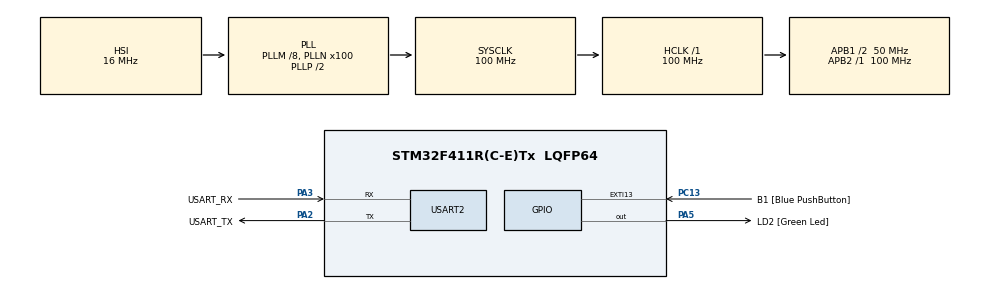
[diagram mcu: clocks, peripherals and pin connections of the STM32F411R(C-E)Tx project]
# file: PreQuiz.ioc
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Mcu.Family=STM32F4
Mcu.Name=STM32F411R(C-E)Tx
Mcu.Package=LQFP64
NVIC.PriorityGroup=NVIC_PRIORITYGROUP_0
PA13.GPIO_Label=TMS
PA13.Mode=Serial_Wire
PA13.Signal=SYS_JTMS-SWDIO
PA14.GPIO_Label=TCK
PA14.Mode=Serial_Wire
PA14.Signal=SYS_JTCK-SWCLK
PA2.GPIO_Label=USART_TX
PA2.Mode=Asynchronous
PA2.Signal=USART2_TX
PA3.GPIO_Label=USART_RX
PA3.Mode=Asynchronous
PA3.Signal=USART2_RX
PA5.GPIO_Label=LD2 [Green Led]
PA5.Signal=GPIO_Output
PB3.GPIO_Label=SWO
PB3.Signal=SYS_JTDO-SWO
PC13-ANTI_TAMP.GPIO_Label=B1 [Blue PushButton]
PC13-ANTI_TAMP.GPIO_ModeDefaultEXTI=GPIO_MODE_IT_FALLING
PC13-ANTI_TAMP.Signal=GPXTI13
PC14-OSC32_IN.Mode=LSE-External-Oscillator
PC14-OSC32_IN.Signal=RCC_OSC32_IN
PC15-OSC32_OUT.Mode=LSE-External-Oscillator
PC15-OSC32_OUT.Signal=RCC_OSC32_OUT
PH0\ -\ OSC_IN.Mode=HSE-External-Clock-Source
PH0\ -\ OSC_IN.Signal=RCC_OSC_IN
PH1\ -\ OSC_OUT.Mode=HSE-External-Clock-Source
PH1\ -\ OSC_OUT.Signal=RCC_OSC_OUT
ProjectManager.HeapSize=0x200
ProjectManager.StackSize=0x400
ProjectManager.TargetToolchain=STM32CubeIDE
RCC.48MHZClocksFreq_Value=50000000
RCC.AHBFreq_Value=100000000
RCC.APB1CLKDivider=RCC_HCLK_DIV2
RCC.APB1Freq_Value=50000000
RCC.APB1TimFreq_Value=100000000
RCC.APB2Freq_Value=100000000
RCC.APB2TimFreq_Value=100000000
RCC.CortexFreq_Value=100000000
RCC.FLatency-AdvancedSettings=FLASH_LATENCY_3
RCC.HCLKFreq_Value=100000000
RCC.HSE_VALUE=8000000
RCC.HSI_VALUE=16000000
RCC.PLLM=8
RCC.PLLN=100
RCC.SYSCLKFreq_VALUE=100000000
RCC.SYSCLKSource=RCC_SYSCLKSOURCE_PLLCLK
RCC.VCOOutputFreq_Value=200000000
USART2.VirtualMode=VM_ASYNC
board=NUCLEO-F411RE

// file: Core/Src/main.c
/* USER CODE BEGIN Header */
/**
  ******************************************************************************
  * @file           : main.c
  * @brief          : Main program body
  ******************************************************************************
  * @attention
  *
  * Copyright (c) 2023 STMicroelectronics.
  * All rights reserved.
  *
  * This software is licensed under terms that can be found in the LICENSE file
  * in the root directory of this software component.
  * If no LICENSE file comes with this software, it is provided AS-IS.
  *
  ******************************************************************************
  */
/* USER CODE END Header */
#include "main.h"

UART_HandleTypeDef huart2;

void SystemClock_Config(void);
static void MX_GPIO_Init(void);
static void MX_USART2_UART_Init(void);

int main(void)
{

  /* MCU Configuration--------------------------------------------------------*/

  /* Reset of all peripherals, Initializes the Flash interface and the Systick. */
  HAL_Init();

  /* Configure the system clock */
  SystemClock_Config();

  /* Initialize all configured peripherals */
  MX_GPIO_Init();
  MX_USART2_UART_Init();

  /* Infinite loop */
  /* USER CODE BEGIN WHILE */
  int setTime = 175,resetTime = 75;
  int changeConfirm = 0,running = 1,counter = 0;
  int twoSeconds = 2000;
  int startTime;
  while (1)
  {
	if(!running)	continue;
	HAL_GPIO_WritePin(GPIOA, GPIO_PIN_5,GPIO_PIN_SET);
	HAL_Delay(setTime);
	HAL_GPIO_WritePin(GPIOA, GPIO_PIN_5,GPIO_PIN_RESET);
	HAL_Delay(resetTime);

	int buttonPressed = !HAL_GPIO_ReadPin(GPIOC, GPIO_PIN_13);
	if(buttonPressed && !changeConfirm){
		startTime = HAL_GetTick();
		HAL_Delay(25);
		changeConfirm = !HAL_GPIO_ReadPin(GPIOC, GPIO_PIN_13);
	}else if(!buttonPressed && changeConfirm){
		changeConfirm = 0;
		counter = 0;
		if(setTime == 175)	setTime = 50,resetTime = 50;
		else				setTime = 175,resetTime = 75;
	}else if(buttonPressed){
		int usedTime = HAL_GetTick() - startTime;
		uint8_t buffer[10];
//		HAL_UART_Transmit(&huart2, itoa(usedTime, buffer, 10), 10, 1000);
//		HAL_UART_Transmit(&huart2, "\r\n", 2, 1000);
		if(usedTime >= twoSeconds){
			running = 0;
			HAL_UART_Transmit(&huart2, "Finished\r\n", 10, 100);
		}
	}
    /* USER CODE END WHILE */

  }
}

void SystemClock_Config(void)
{
  RCC_OscInitTypeDef RCC_OscInitStruct = {0};
  RCC_ClkInitTypeDef RCC_ClkInitStruct = {0};

  /** Configure the main internal regulator output voltage
  */
  __HAL_RCC_PWR_CLK_ENABLE();
  __HAL_PWR_VOLTAGESCALING_CONFIG(PWR_REGULATOR_VOLTAGE_SCALE1);

  /** Initializes the RCC Oscillators according to the specified parameters
  * in the RCC_OscInitTypeDef structure.
  */
  RCC_OscInitStruct.OscillatorType = RCC_OSCILLATORTYPE_HSI;
  RCC_OscInitStruct.HSIState = RCC_HSI_ON;
  RCC_OscInitStruct.HSICalibrationValue = RCC_HSICALIBRATION_DEFAULT;
  RCC_OscInitStruct.PLL.PLLState = RCC_PLL_ON;
  RCC_OscInitStruct.PLL.PLLSource = RCC_PLLSOURCE_HSI;
  RCC_OscInitStruct.PLL.PLLM = 8;
  RCC_OscInitStruct.PLL.PLLN = 100;
  RCC_OscInitStruct.PLL.PLLP = RCC_PLLP_DIV2;
  RCC_OscInitStruct.PLL.PLLQ = 4;
  if (HAL_RCC_OscConfig(&RCC_OscInitStruct) != HAL_OK)
  {
    Error_Handler();
  }

  /** Initializes the CPU, AHB and APB buses clocks
  */
  RCC_ClkInitStruct.ClockType = RCC_CLOCKTYPE_HCLK|RCC_CLOCKTYPE_SYSCLK
                              |RCC_CLOCKTYPE_PCLK1|RCC_CLOCKTYPE_PCLK2;
  RCC_ClkInitStruct.SYSCLKSource = RCC_SYSCLKSOURCE_PLLCLK;
  RCC_ClkInitStruct.AHBCLKDivider = RCC_SYSCLK_DIV1;
  RCC_ClkInitStruct.APB1CLKDivider = RCC_HCLK_DIV2;
  RCC_ClkInitStruct.APB2CLKDivider = RCC_HCLK_DIV1;

  if (HAL_RCC_ClockConfig(&RCC_ClkInitStruct, FLASH_LATENCY_3) != HAL_OK)
  {
    Error_Handler();
  }
}

static void MX_USART2_UART_Init(void)
{

  huart2.Instance = USART2;
  huart2.Init.BaudRate = 115200;
  huart2.Init.WordLength = UART_WORDLENGTH_8B;
  huart2.Init.StopBits = UART_STOPBITS_1;
  huart2.Init.Parity = UART_PARITY_NONE;
  huart2.Init.Mode = UART_MODE_TX_RX;
  huart2.Init.HwFlowCtl = UART_HWCONTROL_NONE;
  huart2.Init.OverSampling = UART_OVERSAMPLING_16;
  if (HAL_UART_Init(&huart2) != HAL_OK)
  {
    Error_Handler();
  }

}

static void MX_GPIO_Init(void)
{
  GPIO_InitTypeDef GPIO_InitStruct = {0};

  /* GPIO Ports Clock Enable */
  __HAL_RCC_GPIOC_CLK_ENABLE();
  __HAL_RCC_GPIOH_CLK_ENABLE();
  __HAL_RCC_GPIOA_CLK_ENABLE();
  __HAL_RCC_GPIOB_CLK_ENABLE();

  /*Configure GPIO pin Output Level */
  HAL_GPIO_WritePin(LD2_GPIO_Port, LD2_Pin, GPIO_PIN_RESET);

  /*Configure GPIO pin : B1_Pin */
  GPIO_InitStruct.Pin = B1_Pin;
  GPIO_InitStruct.Mode = GPIO_MODE_IT_FALLING;
  GPIO_InitStruct.Pull = GPIO_NOPULL;
  HAL_GPIO_Init(B1_GPIO_Port, &GPIO_InitStruct);

  /*Configure GPIO pin : LD2_Pin */
  GPIO_InitStruct.Pin = LD2_Pin;
  GPIO_InitStruct.Mode = GPIO_MODE_OUTPUT_PP;
  GPIO_InitStruct.Pull = GPIO_NOPULL;
  GPIO_InitStruct.Speed = GPIO_SPEED_FREQ_LOW;
  HAL_GPIO_Init(LD2_GPIO_Port, &GPIO_InitStruct);

}

void Error_Handler(void)
{
  __disable_irq();
  while (1)
  {
  }
}
